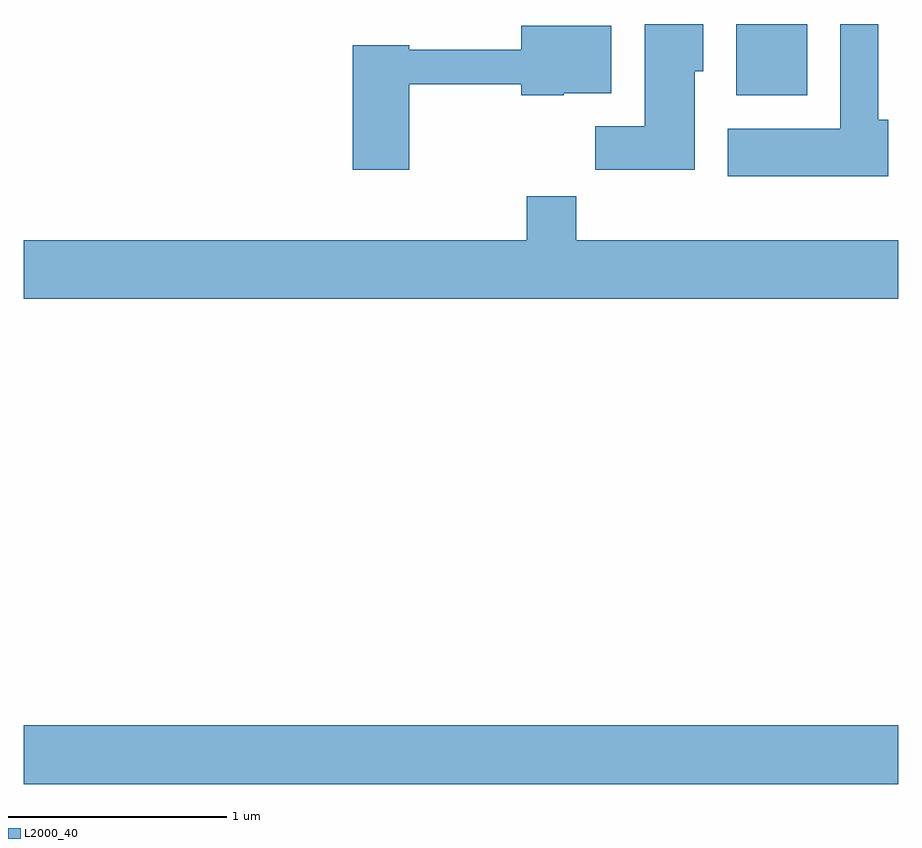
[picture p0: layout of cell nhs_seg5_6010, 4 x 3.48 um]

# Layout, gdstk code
import gdstk
lib = gdstk.Library(unit=1e-6, precision=1e-09)
def R(c, l, rs):  # rectangles x0, y0, x1, y1
    for r in rs: c.add(gdstk.rectangle(r[:2], r[2:], *l))
def P(c, l, *ps):  # polygons
    for p in ps: c.add(gdstk.Polygon(p, *l))
L2000_40 = (2000, 40)

nhs_seg5_6010 = lib.new_cell('nhs_seg5_6010')
R(nhs_seg5_6010, L2000_40, [(363.611,1434.596,367.611,1434.864), (366.871,1437.746,367.194,1438.072)])
P(nhs_seg5_6010, L2000_40, [(366.679,1437.856),(366.719,1437.856),(366.719,1438.072),(366.451,1438.072),(366.451,1437.604),(366.226,1437.604),(366.226,1437.406),(366.679,1437.406)],
  [(367.564,1437.634),(367.519,1437.634),(367.519,1438.072),(367.346,1438.072),(367.346,1437.594),(366.831,1437.594),(366.831,1437.376),(367.564,1437.376)],
  [(365.374,1437.796),(365.886,1437.796),(365.886,1437.746),(366.08,1437.746),(366.08,1437.756),(366.299,1437.756),(366.299,1438.064),(365.886,1438.064),(365.886,1437.954),(365.374,1437.954),(365.374,1437.974),(365.116,1437.974),(365.116,1437.406),(365.374,1437.406)],
  [(367.611,1437.084),(366.139,1437.084),(366.139,1437.284),(365.911,1437.284),(365.911,1437.084),(363.611,1437.084),(363.611,1436.816),(367.611,1436.816)])

lib.write_gds('nhs_seg5_6010.gds')
